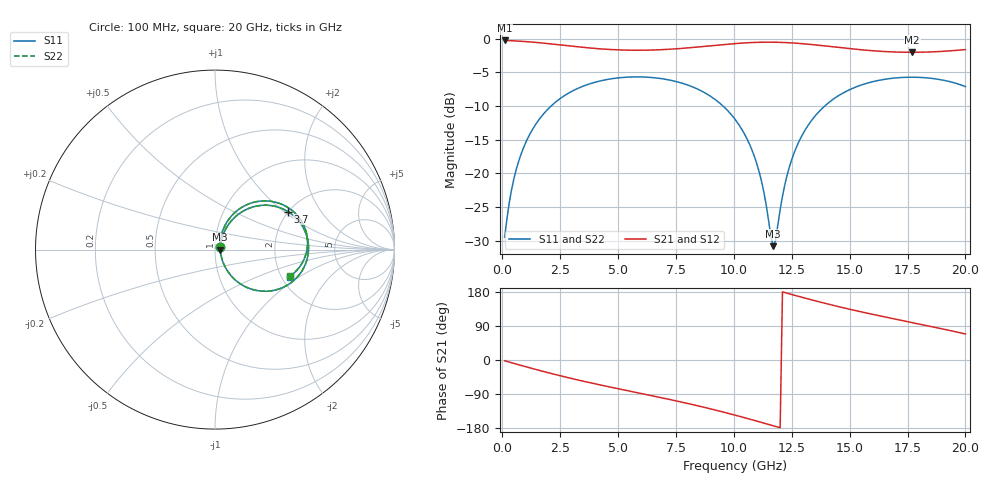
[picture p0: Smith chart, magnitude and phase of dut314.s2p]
! Touchstone file exported from HFSS 2026.1.0
!  File:  C:/ffzhzh/LocalFiles/Ansys_Project_Files/temp_train_TSV_RDL_314_1783030097_51716.aedt
!  Generated:  06:23:20 AM Jul  3, 2026
!  Design:  TSV_RDL
!  Project:  temp_train_TSV_RDL_314_1783030097_51716
! Variables:
!  h_bsmrdl = 4.57um
!  h_ox = 20um
!  h_rdl = 5um
!  h_sub = 67.51um
!  h_tmrdl = 3.67um
!  h_tsv = 67.51um
!  h_via = 3um
!  l_bsmrdl = 349.57um
!  l_sub = 4966.96um
!  l_tmrdl = 858.06um
!  m_sub = 200um
!  pitch = 38.81um
!  r_tsv = 10.98um
!  s_tmrdl = 10um
!  w_bsmrdl = 13.67um
!  w_sub = 500um
!  w_tmrdl = 15um
!  x_tsv_center1 = 865.56um
!  x_tsv_center2 = 1228.8um
!  x_tsv_center3 = 2101.86um
!  x_tsv_center4 = 2465.1um
!  x_tsv_center5 = 3338.16um
!  x_tsv_center6 = 3701.4um
# GHz S MA R 50.000000
! Terminal data exported
! Port[1] = TM_RDL1_1_T1
! Port[2] = TM_RDL5_1_T1
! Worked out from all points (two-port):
!   200 points, 100 MHz to 20 GHz, reference 50 ohm
!   highest |S21| = -0.25 dB at 100 MHz (marker M1); lowest = -2.0 dB at 17.7 GHz (marker M2)
!   |S21| within 3 dB of the highest: start of sweep to end of sweep
!   lowest |S11| = -30.8 dB at 11.7 GHz (marker M3), VSWR 1.06, Z = 53 - j0.0233 ohm
!   |S11| at or under -10 dB: start of sweep to 2.103 GHz; 9.537 GHz to 13.92 GHz (4.384 GHz wide, 37.4 % of centre)
!   |S22| runs from -30.7 to -5.7 dB; largest |S21 - S12| = 1.6e-14
!   S11 on the Smith chart (normalised r, x): 100 MHz: 1.06, +0.04; 3.7 GHz: 1.99, +1.07; 20 GHz: 2.21, -0.82
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0.1  0.0336 30.6  0.9715 -1.8  0.9715 -1.8  0.0336 30.6
! Gamma 0 0 0 0
! Port Impedance 50 0 50 0
0.5  0.09122 61.1  0.9652 -8.9  0.9652 -8.9  0.09122 61.1
1.2  0.1972 59.5  0.9478 -20.9  0.9478 -20.9  0.1972 59.5
2.2  0.3275 47.2  0.9119 -37.0  0.9119 -37.0  0.3275 47.3
3.5  0.4454 30.1  0.8629 -56.0  0.8629 -56.0  0.4454 30.1
3.7  0.4584 27.5  0.8565 -58.8  0.8565 -58.8  0.4584 27.5
5.3  0.5177 7.7  0.8239 -79.6  0.8239 -79.6  0.5177 7.8
6.8  0.508 -10.3  0.8287 -98.6  0.8287 -98.6  0.508 -10.3
8.6  0.4098 -33.1  0.8739 -123.1  0.8739 -123.1  0.4098 -33.0
10.1  0.246 -52.8  0.9225 -146.3  0.9225 -146.3  0.2461 -52.7
11  0.1169 -59.8  0.9407 -161.4  0.9407 -161.4  0.1169 -59.7
11.3  0.07218 -55.6  0.9431 -166.5  0.9431 -166.5  0.0723 -55.4
11.7  0.02888 -0.4  0.9431 -173.4  0.9431 -173.4  0.02916 -0.4
11.8  0.03185 27.9  0.9424 -175.2  0.9424 -175.2  0.0321 27.7
12.1  0.0678 62.5  0.9392 179.7  0.9392 179.7  0.06791 62.3
12.4  0.112 67.7  0.934 174.5  0.934 174.5  0.1121 67.6
12.8  0.1709 66.4  0.9242 167.8  0.9242 167.8  0.1709 66.3
13.4  0.2532 60.1  0.9049 158.0  0.9049 158.0  0.2532 60.1
14.9  0.411 40.9  0.8484 135.3  0.8484 135.3  0.411 40.9
16.7  0.5057 19.0  0.8008 111.4  0.8008 111.4  0.5057 19.0
17.7  0.5185 7.4  0.7934 98.8  0.7934 98.8  0.5185 7.4
20  0.4417 -19.9  0.831 68.8  0.831 68.8  0.4417 -19.8
